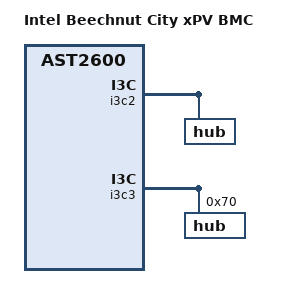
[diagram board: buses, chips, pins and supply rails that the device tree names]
// SPDX-License-Identifier: GPL-2.0
/dts-v1/;

#include "aspeed-bmc-intel-bhs.dtsi"

/ {
	model = "Intel Beechnut City xPV BMC";
	compatible = "intel,bnc-xpv-bmc", "aspeed,ast2600";
};

&mac3 {
	/* OCP NIC is not supported obn xPV platforms */
	status = "disabled";
};

&i3c2 {
	/* I3C_MNG_LVC18 */

	hub@0,0 {
		cp0-ldo = "disabled";
		cp1-ldo = "disabled";
		tp0145-ldo = "disabled";
		tp2367-ldo = "disabled";
		tp0145-pullup = "2k";
		tp2367-pullup = "2k";

		target-port@0 {
			mode = "i3c";
			pullup = "enabled";
		};
		target-port@1 {
			mode = "disabled";
			pullup = "enabled";
		};
		target-port@2 {
			mode = "i3c";
			pullup = "enabled";
		};
		target-port@3 {
			mode = "disabled";
			pullup = "enabled";
		};
		target-port@4 {
			mode = "disabled";
			pullup = "enabled";
		};
		target-port@5 {
			mode = "disabled";
			pullup = "enabled";
		};
		target-port@6 {
			mode = "disabled";
			pullup = "enabled";
		};
		target-port@7 {
			mode = "disabled";
			pullup = "enabled";
		};
	};
};

&i3c3 {
	/* I3C_SPD_BMC */
	i3c-scl-hz = <6000000>;
	i3c-pp-scl-high-ns = <70>;

	/* Renesas RG3MxxB12A0 */
	hub@70,3C000000100 {
		reg = <0x70 0x3C0 0x00000100>;
		assigned-address = <0x70>;
		dcr = <0xC2>;

		cp0-ldo = "disabled";
		cp1-ldo = "disabled";
		tp0145-ldo = "disabled";
		tp2367-ldo = "disabled";
		tp0145-pullup = "2k";
		tp2367-pullup = "2k";

		target-port@0 {
			mode = "i3c";
			pullup = "enabled";
		};
		target-port@1 {
			mode = "i3c";
			pullup = "enabled";
		};
		target-port@2 {
			mode = "i3c";
			pullup = "enabled";
		};
		target-port@3 {
			mode = "i3c";
			pullup = "enabled";
		};
		target-port@4 {
			mode = "disabled";
			pullup = "enabled";
		};
		target-port@5 {
			mode = "disabled";
			pullup = "enabled";
		};
		target-port@6 {
			mode = "disabled";
			pullup = "enabled";
		};
		target-port@7 {
			mode = "disabled";
			pullup = "enabled";
		};

		i3c0@01 {
			jdec-spd;
			/* Renesas SPD5118 */
			spd@50,3C000000000 {
				reg = <0x50 0x3C0 0x00000000>;
				assigned-address = <0x50>;
			};
			/* Renesas SPD5118 */
			spd@51,3C000000001 {
				reg = <0x51 0x3C0 0x00000001>;
				assigned-address = <0x51>;
			};
			/* Renesas SPD5118 */
			spd@52,3C000000002 {
				reg = <0x52 0x3C0 0x00000002>;
				assigned-address = <0x52>;
			};
			/* Renesas SPD5118 */
			spd@53,3C000000003 {
				reg = <0x53 0x3C0 0x00000003>;
				assigned-address = <0x53>;
			};
			/* Renesas SPD5118 */
			spd@54,3C000000004 {
				reg = <0x54 0x3C0 0x00000004>;
				assigned-address = <0x54>;
			};
			/* Renesas SPD5118 */
			spd@55,3C000000005 {
				reg = <0x55 0x3C0 0x00000005>;
				assigned-address = <0x55>;
			};
			/* Renesas SPD5118 */
			spd@56,3C000000006 {
				reg = <0x56 0x3C0 0x00000006>;
				assigned-address = <0x56>;
			};
			/* Renesas SPD5118 */
			spd@57,3C000000007 {
				reg = <0x57 0x3C0 0x00000007>;
				assigned-address = <0x57>;
			};
		};
		i3c1@02 {
			jdec-spd;
			/* Renesas SPD5118 */
			spd@50,3C000000000 {
				reg = <0x50 0x3C0 0x00000000>;
				assigned-address = <0x50>;
			};
			/* Renesas SPD5118 */
			spd@51,3C000000001 {
				reg = <0x51 0x3C0 0x00000001>;
				assigned-address = <0x51>;
			};
			/* Renesas SPD5118 */
			spd@52,3C000000002 {
				reg = <0x52 0x3C0 0x00000002>;
				assigned-address = <0x52>;
			};
			/* Renesas SPD5118 */
			spd@53,3C000000003 {
				reg = <0x53 0x3C0 0x00000003>;
				assigned-address = <0x53>;
			};
			/* Renesas SPD5118 */
			spd@54,3C000000004 {
				reg = <0x54 0x3C0 0x00000004>;
				assigned-address = <0x54>;
			};
			/* Renesas SPD5118 */
			spd@55,3C000000005 {
				reg = <0x55 0x3C0 0x00000005>;
				assigned-address = <0x55>;
			};
			/* Renesas SPD5118 */
			spd@56,3C000000006 {
				reg = <0x56 0x3C0 0x00000006>;
				assigned-address = <0x56>;
			};
			/* Renesas SPD5118 */
			spd@57,3C000000007 {
				reg = <0x57 0x3C0 0x00000007>;
				assigned-address = <0x57>;
			};
		};
		i3c2@04 {
			jdec-spd;
			/* Renesas SPD5118 */
			spd@50,3C000000000 {
				reg = <0x50 0x3C0 0x00000000>;
				assigned-address = <0x50>;
			};
			/* Renesas SPD5118 */
			spd@51,3C000000001 {
				reg = <0x51 0x3C0 0x00000001>;
				assigned-address = <0x51>;
			};
			/* Renesas SPD5118 */
			spd@52,3C000000002 {
				reg = <0x52 0x3C0 0x00000002>;
				assigned-address = <0x52>;
			};
			/* Renesas SPD5118 */
			spd@53,3C000000003 {
				reg = <0x53 0x3C0 0x00000003>;
				assigned-address = <0x53>;
			};
			/* Renesas SPD5118 */
			spd@54,3C000000004 {
				reg = <0x54 0x3C0 0x00000004>;
				assigned-address = <0x54>;
			};
			/* Renesas SPD5118 */
			spd@55,3C000000005 {
				reg = <0x55 0x3C0 0x00000005>;
				assigned-address = <0x55>;
			};
			/* Renesas SPD5118 */
			spd@56,3C000000006 {
				reg = <0x56 0x3C0 0x00000006>;
				assigned-address = <0x56>;
			};
			/* Renesas SPD5118 */
			spd@57,3C000000007 {
				reg = <0x57 0x3C0 0x00000007>;
				assigned-address = <0x57>;
			};
		};
		i3c3@08 {
			jdec-spd;
			/* Renesas SPD5118 */
			spd@50,3C000000000 {
				reg = <0x50 0x3C0 0x00000000>;
				assigned-address = <0x50>;
			};
			/* Renesas SPD5118 */
			spd@51,3C000000001 {
				reg = <0x51 0x3C0 0x00000001>;
				assigned-address = <0x51>;
			};
			/* Renesas SPD5118 */
			spd@52,3C000000002 {
				reg = <0x52 0x3C0 0x00000002>;
				assigned-address = <0x52>;
			};
			/* Renesas SPD5118 */
			spd@53,3C000000003 {
				reg = <0x53 0x3C0 0x00000003>;
				assigned-address = <0x53>;
			};
			/* Renesas SPD5118 */
			spd@54,3C000000004 {
				reg = <0x54 0x3C0 0x00000004>;
				assigned-address = <0x54>;
			};
			/* Renesas SPD5118 */
			spd@55,3C000000005 {
				reg = <0x55 0x3C0 0x00000005>;
				assigned-address = <0x55>;
			};
			/* Renesas SPD5118 */
			spd@56,3C000000006 {
				reg = <0x56 0x3C0 0x00000006>;
				assigned-address = <0x56>;
			};
			/* Renesas SPD5118 */
			spd@57,3C000000007 {
				reg = <0x57 0x3C0 0x00000007>;
				assigned-address = <0x57>;
			};
		};
	};
};
